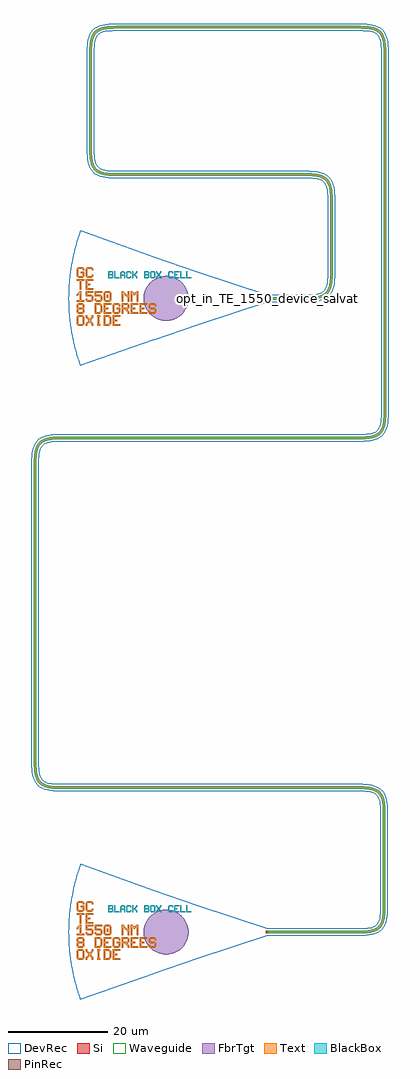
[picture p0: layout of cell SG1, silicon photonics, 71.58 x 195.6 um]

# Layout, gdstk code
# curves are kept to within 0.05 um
import gdstk
lib = gdstk.Library(unit=1e-6, precision=1e-09)
def R(c, l, rs):  # rectangles x0, y0, x1, y1
    for r in rs: c.add(gdstk.rectangle(r[:2], r[2:], *l))
def P(c, l, *ps):  # polygons
    for p in ps: c.add(gdstk.Polygon(p, *l))
Si = (1, 0)
PinRec = (1, 10)
Waveguide = (1, 99)
Text = (10, 0)
DevRec = (68, 0)
FbrTgt = (81, 0)
BlackBox = (998, 0)

text = lib.new_cell('TEXT')
P(text, BlackBox, [(0,0),(0,1.4),(0.8,1.4),(1,1.2),(0.2,1.2),(0.2,0.8),(0.7,0.8),(0.8,0.9),(0.8,1.1),(0.7,1.2),(1,1.2),(1,0.8),(0.9,0.7),(1,0.6),(0.2,0.6),(0.2,0.2),(0.7,0.2),(0.8,0.3),(0.8,0.5),(0.7,0.6),(1,0.6),(1,0.2),(0.8,0)],
  [(1.2,0),(1.2,1.4),(1.4,1.4),(1.4,0.2),(2.2,0.2),(2.2,0)],
  [(2.4,0),(2.4,1.1),(2.7,1.4),(3.1,1.4),(3.3,1.2),(2.8,1.2),(2.6,1),(2.6,0.7),(3.2,0.7),(3.2,1),(3,1.2),(3.3,1.2),(3.4,1.1),(3.4,0),(3.2,0),(3.2,0.5),(2.6,0.5),(2.6,0)],
  [(3.8,0),(3.6,0.2),(3.6,1.2),(3.8,1.4),(4.4,1.4),(4.6,1.2),(4.6,1),(4.4,1),(4.4,1.1),(4.3,1.2),(3.9,1.2),(3.8,1.1),(3.8,0.3),(3.9,0.2),(4.3,0.2),(4.4,0.3),(4.4,0.4),(4.6,0.4),(4.6,0.2),(4.4,0)],
  [(4.8,0),(4.8,1.4),(5,1.4),(5,0.8),(5.2,0.8),(5.6,1.2),(5.6,1.4),(5.8,1.4),(5.8,1.1),(5.4,0.7),(5.8,0.3),(5.8,0),(5.6,0),(5.6,0.2),(5.2,0.6),(5,0.6),(5,0)],
  [(7.2,0),(7.2,1.4),(8,1.4),(8.2,1.2),(7.4,1.2),(7.4,0.8),(7.9,0.8),(8,0.9),(8,1.1),(7.9,1.2),(8.2,1.2),(8.2,0.8),(8.1,0.7),(8.2,0.6),(7.4,0.6),(7.4,0.2),(7.9,0.2),(8,0.3),(8,0.5),(7.9,0.6),(8.2,0.6),(8.2,0.2),(8,0)],
  [(8.6,0),(8.4,0.2),(8.4,1.2),(8.6,1.4),(9.2,1.4),(9.4,1.2),(9.4,0.7),(9.2,0.7),(9.2,1.1),(9.1,1.2),(8.7,1.2),(8.6,1.1),(8.6,0.3),(8.7,0.2),(9.1,0.2),(9.2,0.3),(9.2,0.7),(9.4,0.7),(9.4,0.2),(9.2,0)],
  [(9.6,0),(9.6,0.3),(9.9,0.6),(9.9,0.8),(9.6,1.1),(9.6,1.4),(9.8,1.4),(9.8,1.2),(10.1,0.9),(10.4,1.2),(10.4,1.4),(10.6,1.4),(10.6,1.1),(10.3,0.8),(10.3,0.6),(10.6,0.3),(10.6,0),(10.4,0),(10.4,0.2),(10.1,0.5),(9.8,0.2),(9.8,0)],
  [(12.2,0),(12,0.2),(12,1.2),(12.2,1.4),(12.8,1.4),(13,1.2),(13,1),(12.8,1),(12.8,1.1),(12.7,1.2),(12.3,1.2),(12.2,1.1),(12.2,0.3),(12.3,0.2),(12.7,0.2),(12.8,0.3),(12.8,0.4),(13,0.4),(13,0.2),(12.8,0)],
  [(13.2,0),(13.2,1.4),(14.2,1.4),(14.2,1.2),(13.4,1.2),(13.4,0.8),(13.8,0.8),(13.8,0.6),(13.4,0.6),(13.4,0.2),(14.2,0.2),(14.2,0)],
  [(14.4,0),(14.4,1.4),(14.6,1.4),(14.6,0.2),(15.4,0.2),(15.4,0)],
  [(15.6,0),(15.6,1.4),(15.8,1.4),(15.8,0.2),(16.6,0.2),(16.6,0)])

gc_te_1550_8degoxide_bb = lib.new_cell('GC_TE_1550_8degOxide_BB')
R(gc_te_1550_8degoxide_bb, Si, [(-0.4,-0.25,0,0.25)])
R(gc_te_1550_8degoxide_bb, Text, [(-32.313,0.092,-32.013,0.692)])
P(gc_te_1550_8degoxide_bb, Text, [(-37.67,1.71),(-37.67,3.51),(-38.27,3.51),(-38.27,3.81),(-36.77,3.81),(-36.77,3.51),(-37.37,3.51),(-37.37,1.71)],
  [(-37.97,-5.49),(-38.27,-5.19),(-38.27,-3.69),(-37.97,-3.39),(-37.07,-3.39),(-36.77,-3.69),(-36.77,-4.44),(-37.07,-4.44),(-37.07,-3.84),(-37.22,-3.69),(-37.82,-3.69),(-37.97,-3.84),(-37.97,-5.04),(-37.82,-5.19),(-37.22,-5.19),(-37.07,-5.04),(-37.07,-4.44),(-36.77,-4.44),(-36.77,-5.19),(-37.07,-5.49)],
  [(-31.07,-5.49),(-31.07,-3.39),(-29.57,-3.39),(-29.57,-3.69),(-30.77,-3.69),(-30.77,-4.29),(-30.17,-4.29),(-30.17,-4.59),(-30.77,-4.59),(-30.77,-5.19),(-29.57,-5.19),(-29.57,-5.49)],
  [(-32.87,-3.09),(-32.87,-0.99),(-31.37,-0.99),(-31.37,-1.29),(-32.57,-1.29),(-32.57,-1.89),(-31.97,-1.89),(-31.97,-2.19),(-32.57,-2.19),(-32.57,-2.79),(-31.37,-2.79),(-31.37,-3.09)],
  [(-27.47,-3.09),(-27.47,-0.99),(-25.97,-0.99),(-25.97,-1.29),(-27.17,-1.29),(-27.17,-1.89),(-26.57,-1.89),(-26.57,-2.19),(-27.17,-2.19),(-27.17,-2.79),(-25.97,-2.79),(-25.97,-3.09)],
  [(-25.67,-3.09),(-25.67,-0.99),(-24.17,-0.99),(-24.17,-1.29),(-25.37,-1.29),(-25.37,-1.89),(-24.77,-1.89),(-24.77,-2.19),(-25.37,-2.19),(-25.37,-2.79),(-24.17,-2.79),(-24.17,-3.09)],
  [(-36.47,1.71),(-36.47,3.81),(-34.97,3.81),(-34.97,3.51),(-36.17,3.51),(-36.17,2.91),(-35.57,2.91),(-35.57,2.61),(-36.17,2.61),(-36.17,2.01),(-34.97,2.01),(-34.97,1.71)],
  [(-29.313,-0.658),(-29.313,1.442),(-29.013,1.442),(-28.263,0.692),(-28.113,0.692),(-28.113,1.442),(-27.813,1.442),(-27.813,-0.658),(-28.113,-0.658),(-28.113,0.092),(-28.863,0.842),(-29.013,0.842),(-29.013,-0.658)],
  [(-34.22,-5.49),(-34.22,-5.19),(-34.07,-5.19),(-34.07,-3.69),(-34.22,-3.69),(-34.22,-3.39),(-33.62,-3.39),(-33.62,-3.69),(-33.77,-3.69),(-33.77,-5.19),(-33.62,-5.19),(-33.62,-5.49)],
  [(-36.17,4.11),(-36.47,4.41),(-36.47,5.91),(-36.17,6.21),(-35.27,6.21),(-34.97,5.91),(-34.97,5.61),(-35.27,5.61),(-35.27,5.76),(-35.42,5.91),(-36.02,5.91),(-36.17,5.76),(-36.17,4.56),(-36.02,4.41),(-35.42,4.41),(-35.27,4.56),(-35.27,4.71),(-34.97,4.71),(-34.97,4.41),(-35.27,4.11)],
  [(-27.513,-0.658),(-27.513,1.442),(-27.213,1.442),(-26.913,1.142),(-26.613,1.142),(-26.313,1.442),(-26.013,1.442),(-26.013,-0.658),(-26.313,-0.658),(-26.313,0.842),(-26.463,0.842),(-26.763,0.542),(-27.063,0.842),(-27.213,0.842),(-27.213,-0.658)],
  [(-32.613,-0.658),(-32.913,-0.358),(-32.913,1.142),(-32.613,1.442),(-31.713,1.442),(-31.413,1.142),(-32.463,1.142),(-32.613,0.992),(-32.613,-0.208),(-32.463,-0.358),(-31.863,-0.358),(-31.713,-0.208),(-31.713,0.992),(-31.863,1.142),(-31.413,1.142),(-31.413,-0.358),(-31.713,-0.658)],
  [(-32.87,-5.49),(-32.87,-3.39),(-31.82,-3.39),(-31.52,-3.69),(-32.57,-3.69),(-32.57,-5.19),(-31.97,-5.19),(-31.67,-4.89),(-31.67,-3.99),(-31.97,-3.69),(-31.52,-3.69),(-31.37,-3.84),(-31.37,-5.04),(-31.82,-5.49)],
  [(-34.67,-3.09),(-34.67,-0.99),(-33.62,-0.99),(-33.32,-1.29),(-34.37,-1.29),(-34.37,-2.79),(-33.77,-2.79),(-33.47,-2.49),(-33.47,-1.59),(-33.77,-1.29),(-33.32,-1.29),(-33.17,-1.44),(-33.17,-2.64),(-33.62,-3.09)],
  [(-23.57,-3.09),(-23.87,-2.79),(-23.87,-2.49),(-23.57,-2.49),(-23.57,-2.64),(-23.42,-2.79),(-22.82,-2.79),(-22.67,-2.64),(-22.67,-2.34),(-22.82,-2.19),(-23.57,-2.19),(-23.87,-1.89),(-23.87,-1.29),(-23.57,-0.99),(-22.67,-0.99),(-22.37,-1.29),(-22.37,-1.59),(-22.67,-1.59),(-22.67,-1.44),(-22.82,-1.29),(-23.42,-1.29),(-23.57,-1.44),(-23.57,-1.74),(-23.42,-1.89),(-22.67,-1.89),(-22.37,-2.19),(-22.37,-2.79),(-22.67,-3.09)],
  [(-36.213,-0.658),(-36.513,-0.358),(-36.513,-0.058),(-36.213,-0.058),(-36.213,-0.208),(-36.063,-0.358),(-35.463,-0.358),(-35.313,-0.208),(-35.313,0.242),(-35.463,0.392),(-36.513,0.392),(-36.513,1.442),(-35.013,1.442),(-35.013,1.142),(-36.213,1.142),(-36.213,0.692),(-35.313,0.692),(-35.013,0.392),(-35.013,-0.358),(-35.313,-0.658)],
  [(-34.413,-0.658),(-34.713,-0.358),(-34.713,-0.058),(-34.413,-0.058),(-34.413,-0.208),(-34.263,-0.358),(-33.663,-0.358),(-33.513,-0.208),(-33.513,0.242),(-33.663,0.392),(-34.713,0.392),(-34.713,1.442),(-33.213,1.442),(-33.213,1.142),(-34.413,1.142),(-34.413,0.692),(-33.513,0.692),(-33.213,0.392),(-33.213,-0.358),(-33.513,-0.658)],
  [(-37.97,-3.09),(-38.27,-2.79),(-38.27,-2.19),(-38.12,-2.04),(-38.27,-1.89),(-38.27,-1.29),(-37.97,-0.99),(-37.07,-0.99),(-36.77,-1.29),(-37.82,-1.29),(-37.97,-1.44),(-37.97,-1.74),(-37.82,-1.89),(-37.22,-1.89),(-37.07,-1.74),(-37.07,-1.44),(-37.22,-1.29),(-36.77,-1.29),(-36.77,-1.89),(-36.92,-2.04),(-36.77,-2.19),(-37.82,-2.19),(-37.97,-2.34),(-37.97,-2.64),(-37.82,-2.79),(-37.22,-2.79),(-37.07,-2.64),(-37.07,-2.34),(-37.22,-2.19),(-36.77,-2.19),(-36.77,-2.79),(-37.07,-3.09)],
  [(-38.313,-0.658),(-38.313,-0.358),(-37.713,-0.358),(-37.713,0.842),(-37.863,0.842),(-38.163,0.542),(-38.313,0.542),(-38.313,0.842),(-37.713,1.442),(-37.413,1.442),(-37.413,-0.358),(-36.813,-0.358),(-36.813,-0.658)],
  [(-36.47,-5.49),(-36.47,-5.04),(-36.02,-4.59),(-36.02,-4.29),(-36.47,-3.84),(-36.47,-3.39),(-36.17,-3.39),(-36.17,-3.69),(-35.72,-4.14),(-35.27,-3.69),(-35.27,-3.39),(-34.97,-3.39),(-34.97,-3.84),(-35.42,-4.29),(-35.42,-4.59),(-34.97,-5.04),(-34.97,-5.49),(-35.27,-5.49),(-35.27,-5.19),(-35.72,-4.74),(-36.17,-5.19),(-36.17,-5.49)],
  [(-30.77,-3.09),(-31.07,-2.79),(-31.07,-1.29),(-30.77,-0.99),(-29.87,-0.99),(-29.57,-1.29),(-29.57,-1.59),(-29.87,-1.59),(-29.87,-1.44),(-30.02,-1.29),(-30.62,-1.29),(-30.77,-1.44),(-30.77,-2.64),(-30.62,-2.79),(-30.02,-2.79),(-29.87,-2.64),(-29.87,-2.19),(-30.32,-2.19),(-30.32,-1.89),(-29.57,-1.89),(-29.57,-2.79),(-29.87,-3.09)],
  [(-37.97,4.11),(-38.27,4.41),(-38.27,5.91),(-37.97,6.21),(-37.07,6.21),(-36.77,5.91),(-36.77,5.61),(-37.07,5.61),(-37.07,5.76),(-37.22,5.91),(-37.82,5.91),(-37.97,5.76),(-37.97,4.56),(-37.82,4.41),(-37.22,4.41),(-37.07,4.56),(-37.07,5.01),(-37.52,5.01),(-37.52,5.31),(-36.77,5.31),(-36.77,4.41),(-37.07,4.11)],
  [(-29.27,-3.09),(-29.27,-0.99),(-28.07,-0.99),(-27.77,-1.29),(-28.97,-1.29),(-28.97,-1.89),(-28.22,-1.89),(-28.07,-1.74),(-28.07,-1.44),(-28.22,-1.29),(-27.77,-1.29),(-27.77,-1.89),(-28.07,-2.19),(-28.07,-2.34),(-27.77,-2.64),(-27.77,-3.09),(-28.07,-3.09),(-28.07,-2.79),(-28.67,-2.19),(-28.97,-2.19),(-28.97,-3.09)])
P(gc_te_1550_8degoxide_bb, DevRec, [(-37.607,-13.5),(-38.627,-10.245),(-39.378,-6.832),(-39.835,-3.274),(-39.969,0.224),(-39.812,3.541),(-39.331,7.097),(-38.557,10.505),(-37.546,13.669),(-22.8,8.353),(-14.109,5.36),(0,0.75),(0,-0.75),(-14.109,-5.36)])
P(gc_te_1550_8degoxide_bb, FbrTgt, [(-20.621,-4.5),(-21.495,-4.37),(-22.326,-4.073),(-23.084,-3.619),(-23.738,-3.026),(-24.264,-2.316),(-24.642,-1.518),(-24.857,-0.661),(-24.9,0.221),(-24.77,1.095),(-24.473,1.926),(-24.019,2.684),(-23.426,3.338),(-22.716,3.864),(-21.918,4.242),(-21.061,4.457),(-20.179,4.5),(-19.305,4.37),(-18.474,4.073),(-17.716,3.619),(-17.062,3.026),(-16.536,2.316),(-16.158,1.518),(-15.943,0.661),(-15.9,-0.221),(-16.03,-1.095),(-16.327,-1.926),(-16.781,-2.684),(-17.374,-3.338),(-18.084,-3.864),(-18.882,-4.242),(-19.739,-4.457)])
gc_te_1550_8degoxide_bb.add(gdstk.FlexPath([(-0.01,0),(0.01,0)], 0.5, ends="flush", simple_path=True, layer=1, datatype=10))  # PinRec
gc_te_1550_8degoxide_bb.add(gdstk.Reference(text, (-32,4)))
gc_te_1550_8degoxide_bb.add(gdstk.Label('opt1', (0,0), layer=1, texttype=10))
gc_te_1550_8degoxide_bb.add(gdstk.Label('Lumerical_INTERCONNECT_library=Design kits/ebeam', (-29,-7), layer=68, texttype=0))
gc_te_1550_8degoxide_bb.add(gdstk.Label('Component=GC_TE_1550_8degOxide_BB', (-28,-5), layer=68, texttype=0))

waveguide_36 = lib.new_cell('Waveguide$36')
P(waveguide_36, Si, [(-219.06,-194.1),(-219.06,-193.6),(-199.553,-193.561),(-198.563,-193.434),(-197.895,-193.255),(-197.266,-192.943),(-196.794,-192.517),(-196.446,-191.943),(-196.205,-191.191),(-196.063,-190.235),(-196.011,-189.067),(-196.015,-169.462),(-196.148,-167.845),(-196.498,-166.689),(-197.014,-165.993),(-197.667,-165.576),(-198.716,-165.277),(-200.129,-165.149),(-261.148,-165.135),(-262.501,-165.045),(-263.461,-164.855),(-264.254,-164.537),(-264.887,-164.067),(-265.358,-163.433),(-265.676,-162.64),(-265.866,-161.68),(-265.956,-160.327),(-265.96,-99.809),(-265.865,-98.018),(-265.715,-97.205),(-265.479,-96.511),(-265.142,-95.928),(-264.693,-95.457),(-264.132,-95.098),(-263.46,-94.843),(-261.759,-94.586),(-200.202,-94.554),(-198.901,-94.468),(-197.888,-94.255),(-197.136,-93.902),(-196.664,-93.476),(-196.316,-92.902),(-196.075,-92.15),(-195.933,-91.194),(-195.881,-90.026),(-195.88,-17.502),(-196.018,-15.457),(-196.184,-14.76),(-196.421,-14.198),(-196.734,-13.755),(-197.137,-13.408),(-197.649,-13.141),(-198.289,-12.947),(-200.203,-12.756),(-250.232,-12.762),(-251.645,-12.89),(-252.694,-13.189),(-253.423,-13.679),(-253.914,-14.409),(-254.213,-15.458),(-254.346,-17.075),(-254.34,-37.662),(-254.237,-38.92),(-254.005,-39.895),(-253.565,-40.698),(-253,-41.183),(-252.464,-41.436),(-251.796,-41.615),(-250.027,-41.776),(-210.488,-41.798),(-209.209,-41.926),(-208.172,-42.206),(-207.459,-42.598),(-206.83,-43.259),(-206.515,-43.863),(-206.297,-44.581),(-206.145,-45.599),(-206.091,-46.809),(-206.1,-62.498),(-206.266,-64.143),(-206.63,-65.273),(-207.074,-65.933),(-207.68,-66.431),(-208.447,-66.773),(-209.377,-66.982),(-211.119,-67.099),(-219.06,-67.1),(-219.06,-66.6),(-211.123,-66.599),(-209.296,-66.463),(-208.476,-66.256),(-207.847,-65.944),(-207.375,-65.518),(-207.078,-65.051),(-206.756,-64.047),(-206.6,-62.482),(-206.591,-46.813),(-206.755,-44.834),(-206.934,-44.166),(-207.187,-43.63),(-207.672,-43.065),(-208.358,-42.67),(-209.295,-42.418),(-210.51,-42.298),(-250.037,-42.276),(-252.049,-42.073),(-252.767,-41.855),(-253.371,-41.54),(-254.032,-40.911),(-254.424,-40.198),(-254.674,-39.323),(-254.822,-38.08),(-254.823,-16.453),(-254.566,-14.752),(-254.37,-14.205),(-254.033,-13.622),(-253.683,-13.236),(-253.144,-12.855),(-252.494,-12.58),(-251.731,-12.398),(-249.6,-12.252),(-199.581,-12.279),(-197.88,-12.536),(-197.333,-12.732),(-196.75,-13.069),(-196.364,-13.419),(-195.983,-13.958),(-195.708,-14.608),(-195.526,-15.371),(-195.38,-17.502),(-195.381,-90.03),(-195.435,-91.24),(-195.587,-92.258),(-195.86,-93.106),(-196.278,-93.792),(-196.858,-94.318),(-197.736,-94.731),(-198.839,-94.964),(-200.192,-95.054),(-261.916,-95.097),(-263.451,-95.362),(-264.377,-95.843),(-264.74,-96.226),(-265.023,-96.715),(-265.231,-97.329),(-265.369,-98.08),(-265.46,-99.809),(-265.459,-160.107),(-265.407,-161.275),(-265.232,-162.369),(-264.92,-163.193),(-264.533,-163.713),(-264.014,-164.099),(-263.323,-164.375),(-262.439,-164.549),(-261.138,-164.635),(-199.909,-164.657),(-198.468,-164.815),(-197.463,-165.12),(-196.583,-165.713),(-196.05,-166.467),(-195.686,-167.597),(-195.52,-169.242),(-195.511,-189.071),(-195.565,-190.281),(-195.717,-191.299),(-195.99,-192.147),(-196.408,-192.833),(-196.988,-193.359),(-197.727,-193.725),(-198.629,-193.954),(-199.71,-194.072)])
P(waveguide_36, Waveguide, [(-219.06,-194.1),(-219.06,-193.6),(-199.553,-193.561),(-198.563,-193.434),(-197.895,-193.255),(-197.266,-192.943),(-196.794,-192.517),(-196.446,-191.943),(-196.205,-191.191),(-196.063,-190.235),(-196.011,-189.067),(-196.015,-169.462),(-196.148,-167.845),(-196.498,-166.689),(-197.014,-165.993),(-197.667,-165.576),(-198.716,-165.277),(-200.129,-165.149),(-261.148,-165.135),(-262.501,-165.045),(-263.461,-164.855),(-264.254,-164.537),(-264.887,-164.067),(-265.358,-163.433),(-265.676,-162.64),(-265.866,-161.68),(-265.956,-160.327),(-265.96,-99.809),(-265.865,-98.018),(-265.715,-97.205),(-265.479,-96.511),(-265.142,-95.928),(-264.693,-95.457),(-264.132,-95.098),(-263.46,-94.843),(-261.759,-94.586),(-200.202,-94.554),(-198.901,-94.468),(-197.888,-94.255),(-197.136,-93.902),(-196.664,-93.476),(-196.316,-92.902),(-196.075,-92.15),(-195.933,-91.194),(-195.881,-90.026),(-195.88,-17.502),(-196.018,-15.457),(-196.184,-14.76),(-196.421,-14.198),(-196.734,-13.755),(-197.137,-13.408),(-197.649,-13.141),(-198.289,-12.947),(-200.203,-12.756),(-250.232,-12.762),(-251.645,-12.89),(-252.694,-13.189),(-253.423,-13.679),(-253.914,-14.409),(-254.213,-15.458),(-254.346,-17.075),(-254.34,-37.662),(-254.237,-38.92),(-254.005,-39.895),(-253.565,-40.698),(-253,-41.183),(-252.464,-41.436),(-251.796,-41.615),(-250.027,-41.776),(-210.488,-41.798),(-209.209,-41.926),(-208.172,-42.206),(-207.459,-42.598),(-206.83,-43.259),(-206.515,-43.863),(-206.297,-44.581),(-206.145,-45.599),(-206.091,-46.809),(-206.1,-62.498),(-206.266,-64.143),(-206.63,-65.273),(-207.074,-65.933),(-207.68,-66.431),(-208.447,-66.773),(-209.377,-66.982),(-211.119,-67.099),(-219.06,-67.1),(-219.06,-66.6),(-211.123,-66.599),(-209.296,-66.463),(-208.476,-66.256),(-207.847,-65.944),(-207.375,-65.518),(-207.078,-65.051),(-206.756,-64.047),(-206.6,-62.482),(-206.591,-46.813),(-206.755,-44.834),(-206.934,-44.166),(-207.187,-43.63),(-207.672,-43.065),(-208.358,-42.67),(-209.295,-42.418),(-210.51,-42.298),(-250.037,-42.276),(-252.049,-42.073),(-252.767,-41.855),(-253.371,-41.54),(-254.032,-40.911),(-254.424,-40.198),(-254.674,-39.323),(-254.822,-38.08),(-254.823,-16.453),(-254.566,-14.752),(-254.37,-14.205),(-254.033,-13.622),(-253.683,-13.236),(-253.144,-12.855),(-252.494,-12.58),(-251.731,-12.398),(-249.6,-12.252),(-199.581,-12.279),(-197.88,-12.536),(-197.333,-12.732),(-196.75,-13.069),(-196.364,-13.419),(-195.983,-13.958),(-195.708,-14.608),(-195.526,-15.371),(-195.38,-17.502),(-195.381,-90.03),(-195.435,-91.24),(-195.587,-92.258),(-195.86,-93.106),(-196.278,-93.792),(-196.858,-94.318),(-197.736,-94.731),(-198.839,-94.964),(-200.192,-95.054),(-261.916,-95.097),(-263.451,-95.362),(-264.377,-95.843),(-264.74,-96.226),(-265.023,-96.715),(-265.231,-97.329),(-265.369,-98.08),(-265.46,-99.809),(-265.459,-160.107),(-265.407,-161.275),(-265.232,-162.369),(-264.92,-163.193),(-264.533,-163.713),(-264.014,-164.099),(-263.323,-164.375),(-262.439,-164.549),(-261.138,-164.635),(-199.909,-164.657),(-198.468,-164.815),(-197.463,-165.12),(-196.583,-165.713),(-196.05,-166.467),(-195.686,-167.597),(-195.52,-169.242),(-195.511,-189.071),(-195.565,-190.281),(-195.717,-191.299),(-195.99,-192.147),(-196.408,-192.833),(-196.988,-193.359),(-197.727,-193.725),(-198.629,-193.954),(-199.71,-194.072)])
P(waveguide_36, DevRec, [(-219.06,-194.6),(-219.06,-193.1),(-200.11,-193.089),(-199.015,-193.002),(-198.184,-192.824),(-197.601,-192.564),(-197.202,-192.225),(-196.905,-191.745),(-196.685,-191.043),(-196.552,-190.08),(-196.51,-188.85),(-196.521,-169.24),(-196.608,-168.145),(-196.906,-166.994),(-197.203,-166.514),(-197.865,-166.035),(-199.016,-165.737),(-200.111,-165.65),(-261.412,-165.629),(-262.663,-165.528),(-263.738,-165.294),(-264.661,-164.878),(-265.06,-164.587),(-265.699,-163.84),(-266.115,-162.917),(-266.349,-161.842),(-266.45,-160.591),(-266.46,-99.809),(-266.348,-97.856),(-266.114,-96.781),(-265.932,-96.299),(-265.407,-95.459),(-265.059,-95.111),(-264.66,-94.82),(-263.737,-94.404),(-262.06,-94.105),(-200.63,-94.059),(-199.399,-94.016),(-198.436,-93.883),(-197.734,-93.663),(-197.072,-93.184),(-196.775,-92.704),(-196.555,-92.002),(-196.422,-91.039),(-196.38,-89.809),(-196.38,-17.502),(-196.423,-16.271),(-196.556,-15.308),(-196.916,-14.343),(-197.255,-13.944),(-197.735,-13.647),(-198.886,-13.349),(-200.63,-13.252),(-250.25,-13.263),(-251.345,-13.35),(-252.496,-13.648),(-252.976,-13.945),(-253.455,-14.607),(-253.753,-15.758),(-253.84,-16.853),(-253.839,-37.68),(-253.752,-38.775),(-253.574,-39.606),(-253.314,-40.189),(-252.758,-40.745),(-252.175,-41.005),(-251.344,-41.183),(-249.6,-41.28),(-210.638,-41.291),(-208.83,-41.49),(-207.83,-41.808),(-206.99,-42.333),(-206.351,-43.08),(-206.117,-43.521),(-205.799,-44.521),(-205.636,-45.68),(-205.59,-47.03),(-205.601,-62.552),(-205.8,-64.36),(-206.118,-65.36),(-206.643,-66.2),(-207.39,-66.839),(-208.313,-67.255),(-209.388,-67.489),(-211.339,-67.6),(-219.06,-67.6),(-219.06,-66.1),(-211.341,-66.1),(-209.596,-66.003),(-208.765,-65.825),(-208.182,-65.565),(-207.783,-65.226),(-207.486,-64.746),(-207.188,-63.595),(-207.101,-62.5),(-207.09,-47.03),(-207.187,-45.286),(-207.365,-44.455),(-207.625,-43.872),(-208.181,-43.316),(-208.764,-43.056),(-209.595,-42.878),(-210.69,-42.791),(-250.301,-42.77),(-252.109,-42.571),(-253.109,-42.253),(-253.55,-42.019),(-254.297,-41.38),(-254.822,-40.54),(-255.14,-39.54),(-255.303,-38.381),(-255.34,-16.801),(-255.141,-14.993),(-254.823,-13.993),(-254.589,-13.552),(-254.298,-13.153),(-253.551,-12.514),(-253.11,-12.28),(-252.11,-11.962),(-250.951,-11.799),(-249.6,-11.752),(-199.929,-11.762),(-198.121,-11.961),(-197.121,-12.279),(-196.68,-12.513),(-196.281,-12.804),(-195.642,-13.551),(-195.408,-13.992),(-195.09,-14.992),(-194.927,-16.151),(-194.88,-17.502),(-194.88,-89.809),(-194.926,-91.159),(-195.089,-92.318),(-195.407,-93.318),(-195.932,-94.158),(-196.679,-94.797),(-197.602,-95.213),(-198.677,-95.447),(-199.928,-95.548),(-261.94,-95.601),(-263.285,-95.834),(-264.085,-96.251),(-264.564,-96.913),(-264.862,-98.064),(-264.96,-99.809),(-264.96,-159.89),(-264.918,-161.12),(-264.785,-162.083),(-264.565,-162.785),(-264.086,-163.447),(-263.606,-163.744),(-262.904,-163.964),(-261.941,-164.097),(-260.71,-164.14),(-200.059,-164.15),(-198.251,-164.349),(-197.251,-164.667),(-196.411,-165.192),(-196.063,-165.54),(-195.538,-166.38),(-195.22,-167.38),(-195.021,-169.188),(-195.02,-189.551),(-195.121,-190.802),(-195.355,-191.877),(-195.771,-192.8),(-196.062,-193.199),(-196.41,-193.547),(-197.25,-194.072),(-198.25,-194.39),(-199.409,-194.553)])
waveguide_36.add(gdstk.FlexPath([(-219.05,-66.85),(-219.07,-66.85)], 0.5, ends="flush", simple_path=True, layer=1, datatype=10))  # PinRec
waveguide_36.add(gdstk.FlexPath([(-219.05,-193.85),(-219.07,-193.85)], 0.5, ends="flush", simple_path=True, layer=1, datatype=10))  # PinRec
waveguide_36.add(gdstk.Label('opt1', (-219.06,-66.85), layer=1, texttype=10))
waveguide_36.add(gdstk.Label('opt2', (-219.06,-193.85), layer=1, texttype=10))
waveguide_36.add(gdstk.Label('Lumerical_INTERCONNECT_library=Design kits/EBeam', (-219.06,-66.95), layer=68, texttype=0))
waveguide_36.add(gdstk.Label('Component=ebeam_wg_integral_1550', (-219.06,-66.75), layer=68, texttype=0))
waveguide_36.add(gdstk.Label('cellName=Waveguide', (-219.06,-66.65), layer=68, texttype=0))
waveguide_36.add(gdstk.Label('Length=503.459 (microns)', (-219.06,-67.45), layer=68, texttype=0))
waveguide_36.add(gdstk.Label('waveguide_type=Strip TE 1550 nm, w=500 nm', (-219.06,-67.05), layer=68, texttype=0))

sg1 = lib.new_cell('SG1')
r = gdstk.Reference(gc_te_1550_8degoxide_bb, (-219.06,-193.85)); r.repetition = gdstk.Repetition(1, 2, v1=(0,0), v2=(0,127)); sg1.add(r)
sg1.add(gdstk.Reference(waveguide_36, (0,0)))
sg1.add(gdstk.Label('opt_in_TE_1550_device_salvatore2899_SG1', (-219.06,-66.85), layer=10, texttype=0))

lib.write_gds('SG1.gds')
